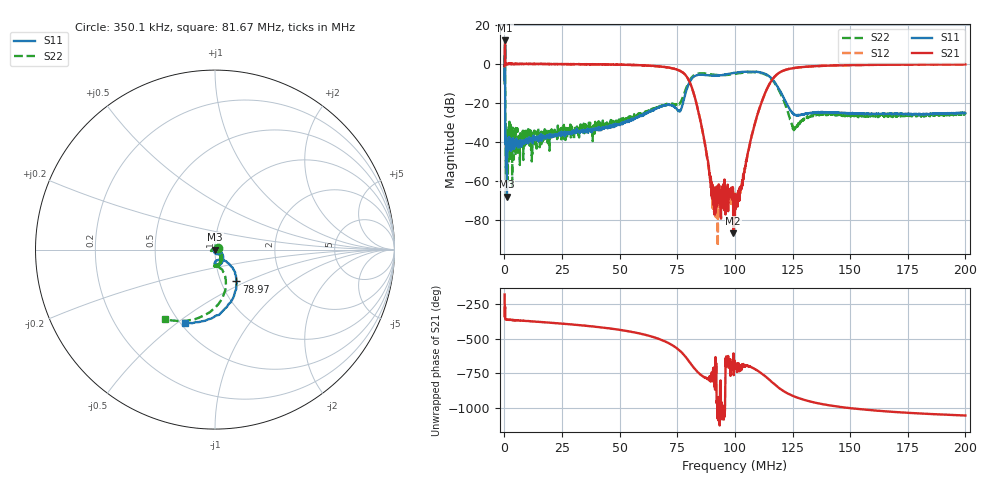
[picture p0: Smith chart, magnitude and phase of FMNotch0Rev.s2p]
! 19-Feb-26 12:59:52 PM
! E:\VNA_MEASUREMENTS\RECBLOCK\FMNOTCH0REV.S2P
! CHANNEL.1
! TR.MEASUREMENT
! CORRECTED.DATA
# GHZ S RI R 50.0
! FREQ.GHZ  S11RE  S11IM  S21RE  S21IM  S12RE  S12IM  S22RE  S22IM
!; PortSelection: Port_12
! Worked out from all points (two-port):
!   2000 points, 50 kHz to 200 MHz, reference 50 ohm
!   highest |S21| = 11.94 dB at 250 kHz (marker M1); lowest = -86.9 dB at 99.27 MHz (marker M2)
!   |S21| within 3 dB of the highest: 181.3 kHz to 275.3 kHz (94 kHz wide, 41.2 % of centre)
!   lowest |S11| = -68.1 dB at 1.05 MHz (marker M3), VSWR 1.00, Z = 50 + j0.0346 ohm
!   |S11| at or under -10 dB: 145.9 kHz to 152.9 kHz (6.945 kHz wide, 4.65 % of centre); 288.8 kHz to 80.1 MHz (79.81 MHz wide, 199 % of centre); 117.6 MHz to end of sweep
!   |S22| runs from -63.9 to 9.3 dB; largest |S21 - S12| = 6.3
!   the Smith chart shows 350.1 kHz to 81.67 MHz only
!   S11 on the Smith chart (normalised r, x): 350.1 kHz: 1.02, -0.00; 78.97 MHz: 1.18, -0.44; 81.67 MHz: 0.53, -0.54
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5e-05  -0.6942 1.343  -0.8613 -0.0058  -0.0888 -0.3233  -0.2513 -1.37
0.00025005  0.0803 -3.018  -0.231 3.945  1.527 -2.066  -1.47 2.527
0.000350075  0.00873 -0.00191  1.004 0.00766  0.9973 -0.00338  0.0149 0.0108
0.00105025  -0.000183 0.000346  0.9496 -0.0359  0.9803 -0.0254  -0.0225 -0.00776
0.006251551  0.00801 0.00188  0.9733 -0.1282  0.9813 -0.1248  0.0036 0.00427
0.03345835  0.0188 -0.00339  0.7109 -0.6673  0.7098 -0.6654  0.0203 -0.00557
0.05496373  0.0336 -0.0176  0.0133 -0.9262  0.00914 -0.9322  0.0305 -0.0216
0.06676668  0.042 -0.0612  -0.6627 -0.5429  -0.6605 -0.5529  0.0323 -0.0685
0.07346836  0.00135 -0.0802  -0.7237 0.1756  -0.7275 0.1764  -0.00408 -0.092
0.07896973  0.119 -0.1772  0.0817 0.4706  0.0794 0.4694  0.0514 -0.2426
0.08167041  -0.1648 -0.4089  0.1985 0.0712  0.1982 0.0727  -0.2805 -0.3879
0.08557139  -0.5054 0.14  0.0167 -0.0176  0.0165 -0.0177  -0.5371 0.1979
0.09147286  0.3368 0.3588  0.000471 -8.31e-05  0.000339 -1.68e-05  0.2905 0.431
0.09927481  0.0233 -0.58  4.31e-05 1.31e-05  0.000223 0.000162  0.0765 -0.5375
0.100075  -0.0941 -0.581  0.000465 3.25e-05  0.000418 5.61e-05  -0.0465 -0.5498
0.1065766  -0.6261 0.0657  0.00886 0.00273  0.00889 0.00259  -0.5947 0.1099
0.1110778  -0.2492 0.5488  0.0777 -0.0378  0.0773 -0.037  -0.1526 0.5628
0.1150788  0.2613 0.3864  0.0578 -0.3053  0.0566 -0.3047  0.332 0.3024
0.1254814  0.0523 -0.00411  -0.741 0.2273  -0.7419 0.2247  0.0226 -0.0031
0.1333833  0.0532 0.00865  -0.4561 0.7245  -0.4581 0.7298  0.042 0.019
0.1666917  0.0305 -0.0427  0.5812 0.7473  0.5788 0.7406  0.0361 -0.0264
0.2  0.012 -0.0533  0.8828 0.3865  0.8812 0.3844  0.0263 -0.0463
